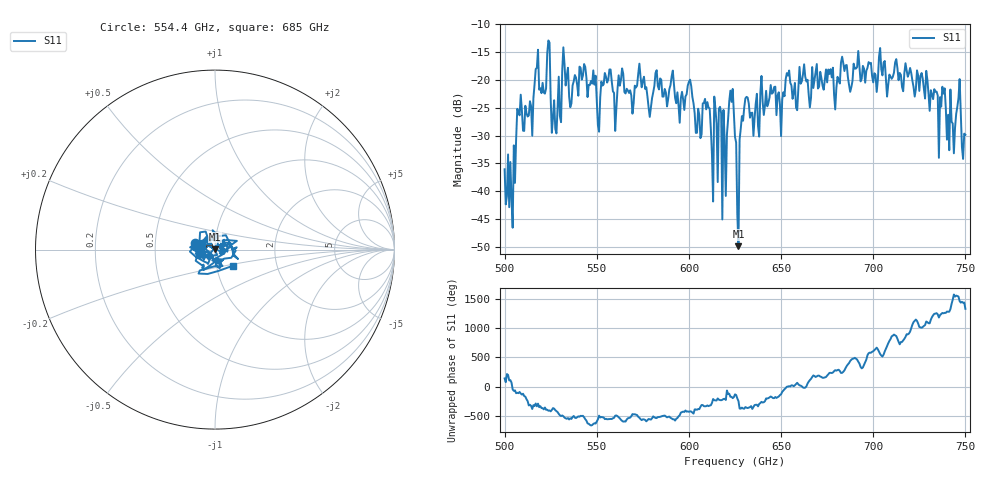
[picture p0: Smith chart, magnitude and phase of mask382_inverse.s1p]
!Created with skrf (http://scikit-rf.org).
# GHz S MA R 50.0
!freq magS11 angS11
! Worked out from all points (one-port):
!   401 points, 500 GHz to 750 GHz, reference 50 ohm
!   lowest |S11| = -49.9 dB at 626.9 GHz (marker M1), VSWR 1.01, Z = 49.9 + j0.299 ohm
!   |S11| at or under -10 dB: start of sweep to end of sweep
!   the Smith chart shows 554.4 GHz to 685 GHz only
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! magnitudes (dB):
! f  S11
! 500 GHz  -36.1
! 503.8 GHz  -41.5
! 508.1 GHz  -26.4
! 513.8 GHz  -23.8
! 516.9 GHz  -18.0
! 521.2 GHz  -22.3
! 523.8 GHz  -12.9
! 526.9 GHz  -23.6
! 531.2 GHz  -18.4
! 542.5 GHz  -19.2
! 551.2 GHz  -29.3
! 562.5 GHz  -21.0
! 593.8 GHz  -22.2
! 610 GHz  -24.0
! 611.9 GHz  -28.7
! 616.2 GHz  -25.2
! 619.4 GHz  -30.7
! 623.1 GHz  -23.9
! 625 GHz  -30.3
! 626.9 GHz  -49.9
! 631.2 GHz  -23.0
! 656.2 GHz  -23.4
! 683.8 GHz  -17.0
! 687.5 GHz  -22.1
! 718.8 GHz  -19.4
! 742.5 GHz  -27.5
! 746.2 GHz  -23.2
! 750 GHz  -29.9
